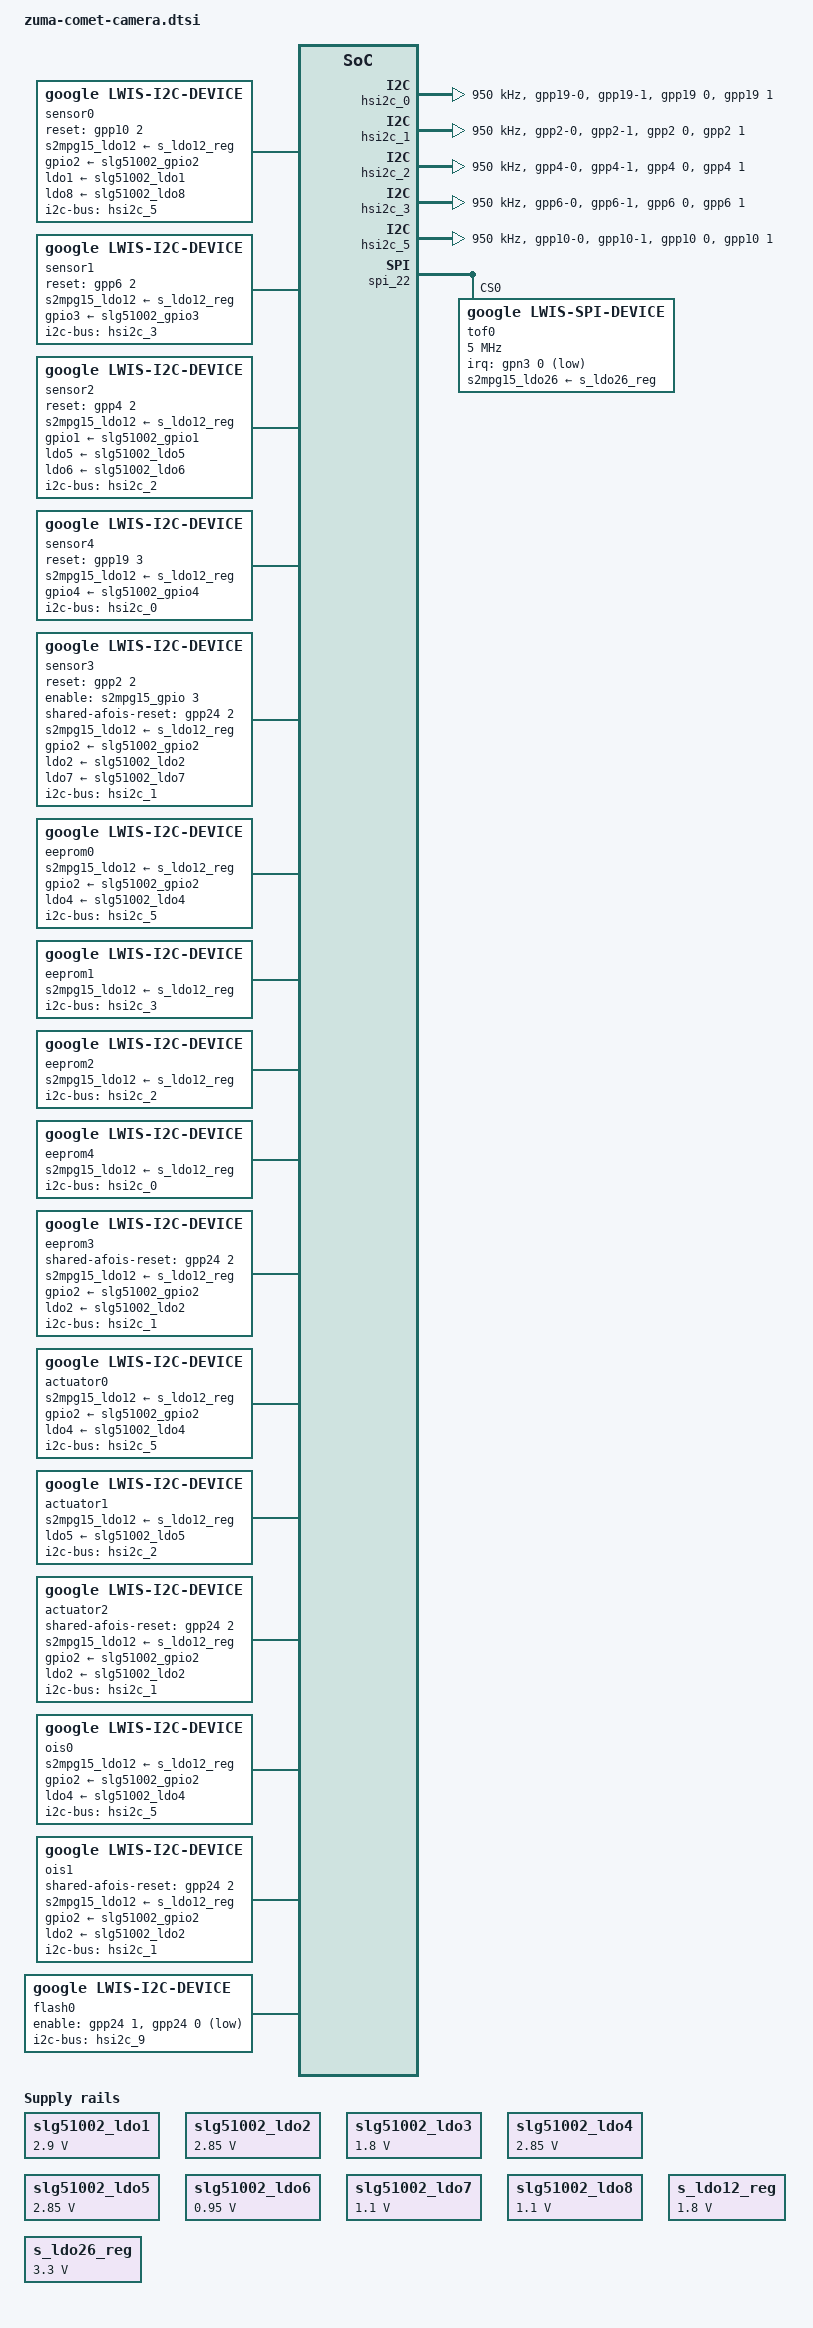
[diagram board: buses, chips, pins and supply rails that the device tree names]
// SPDX-License-Identifier: GPL-2.0-only
/*
 * zuma camera lwis device tree for comet
 *
 * Copyright 2023 Google LLC.
 *
 */

#include <dt-bindings/clock/zuma.h>
#include <dt-bindings/gpio/gpio.h>
#include <dt-bindings/lwis/platform/zuma/tof.h>
#include <dt-bindings/pinctrl/samsung.h>

&slg51002_ldo1 {
	regulator-min-microvolt = <2900000>;
	regulator-max-microvolt = <2900000>;
};

&slg51002_ldo2 {
	regulator-min-microvolt = <2850000>;
	regulator-max-microvolt = <2850000>;
};

&slg51002_ldo3 {
	regulator-min-microvolt = <1800000>;
	regulator-max-microvolt = <1800000>;
};

&slg51002_ldo4 {
	regulator-min-microvolt = <2850000>;
	regulator-max-microvolt = <2850000>;
};

&slg51002_ldo5 {
	regulator-min-microvolt = <2850000>;
	regulator-max-microvolt = <2850000>;
};

&slg51002_ldo6 {
	regulator-min-microvolt = <950000>;
	regulator-max-microvolt = <950000>;
};

&slg51002_ldo7 {
	regulator-min-microvolt = <1100000>;
	regulator-max-microvolt = <1100000>;
};

&slg51002_ldo8 {
	regulator-min-microvolt = <1100000>;
	regulator-max-microvolt = <1100000>;
};

&s_ldo12_reg {
	regulator-min-microvolt = <1800000>;
	regulator-max-microvolt = <1800000>;
};

&s_ldo26_reg {
	regulator-min-microvolt = <3300000>;
	regulator-max-microvolt = <3300000>;
};

&pinctrl_11 {
	hsi2c1_bus: hsi2c1-bus {
		samsung,pin-pud = <EXYNOS_PIN_PULL_UP>;
	};

	hsi2c1_bus_in: hsi2c1-bus-in {
		samsung,pins = "gpp2-0", "gpp2-1";
		samsung,pin-function = <EXYNOS_PIN_FUNC_INPUT>;
		samsung,pin-pud = <EXYNOS_PIN_PULL_NONE>;
		samsung,pin-drv = <ZUMA_PIN_DRV_X1>;
	};

	hsi2c2_bus: hsi2c2-bus {
		samsung,pin-pud = <EXYNOS_PIN_PULL_UP>;
	};

	hsi2c2_bus_in: hsi2c2-bus-in {
		samsung,pins = "gpp4-0", "gpp4-1";
		samsung,pin-function = <EXYNOS_PIN_FUNC_INPUT>;
		samsung,pin-pud = <EXYNOS_PIN_PULL_NONE>;
		samsung,pin-drv = <ZUMA_PIN_DRV_X1>;
	};

	hsi2c3_bus: hsi2c3-bus {
		samsung,pin-pud = <EXYNOS_PIN_PULL_UP>;
	};

	hsi2c3_bus_in: hsi2c3-bus-in {
		samsung,pins = "gpp6-0", "gpp6-1";
		samsung,pin-function = <EXYNOS_PIN_FUNC_INPUT>;
		samsung,pin-pud = <EXYNOS_PIN_PULL_NONE>;
		samsung,pin-drv = <ZUMA_PIN_DRV_X1>;
	};

	hsi2c5_bus: hsi2c5-bus {
		samsung,pin-pud = <EXYNOS_PIN_PULL_UP>;
	};

	hsi2c5_bus_in: hsi2c5-bus-in {
		samsung,pins = "gpp10-0", "gpp10-1";
		samsung,pin-function = <EXYNOS_PIN_FUNC_INPUT>;
		samsung,pin-pud = <EXYNOS_PIN_PULL_NONE>;
		samsung,pin-drv = <ZUMA_PIN_DRV_X1>;
	};

	sensor_mclk1_out: sensor-mclk1-out {
		samsung,pin-drv = <ZUMA_PIN_DRV_X5>;
	};
	sensor_mclk1_fn: sensor-mclk1-fn {
		samsung,pin-drv = <ZUMA_PIN_DRV_X5>;
	};
	sensor_mclk2_out: sensor-mclk2-out {
		samsung,pin-drv = <ZUMA_PIN_DRV_X3>;
	};
	sensor_mclk2_fn: sensor-mclk2-fn {
		samsung,pin-drv = <ZUMA_PIN_DRV_X3>;
	};
	sensor_mclk4_out: sensor-mclk4-out {
		samsung,pin-drv = <ZUMA_PIN_DRV_X5>;
	};
	sensor_mclk4_fn: sensor-mclk4-fn {
		samsung,pin-drv = <ZUMA_PIN_DRV_X5>;
	};
	sensor_mclk8_fn: sensor-mclk8-fn {
		samsung,pin-drv = <ZUMA_PIN_DRV_X5>;
	};
	sensor_mclk8_out: sensor-mclk8-out {
		samsung,pin-drv = <ZUMA_PIN_DRV_X5>;
	};
};

&pinctrl_12 {
	hsi2c0_bus: hsi2c0-bus {
		samsung,pin-pud = <EXYNOS_PIN_PULL_UP>;
	};

	hsi2c0_bus_in: hsi2c0-bus-in {
		samsung,pins = "gpp19-0", "gpp19-1";
		samsung,pin-function = <EXYNOS_PIN_FUNC_INPUT>;
		samsung,pin-pud = <EXYNOS_PIN_PULL_NONE>;
		samsung,pin-drv = <ZUMA_PIN_DRV_X1>;
	};
};

&hsi2c_0 {
	#address-cells = <1>;
	#size-cells = <0>;
	gpios = <&gpp19 0 GPIO_ACTIVE_HIGH &gpp19 1 GPIO_ACTIVE_HIGH>;
	status = "okay";
	clock-frequency = <950000>;
	samsung,reset-before-trans;

	pinctrl-names = "default","on_i2c","off_i2c";
	pinctrl-0 = <&hsi2c0_bus_in>;
	pinctrl-1 = <&hsi2c0_bus>;
	pinctrl-2 = <&hsi2c0_bus_in>;
};

&hsi2c_1 {
	#address-cells = <1>;
	#size-cells = <0>;
	gpios = <&gpp2 0 GPIO_ACTIVE_HIGH &gpp2 1 GPIO_ACTIVE_HIGH>;
	status = "okay";
	clock-frequency = <950000>;
	samsung,reset-before-trans;

	pinctrl-names = "default","on_i2c","off_i2c";
	pinctrl-0 = <&hsi2c1_bus_in>;
	pinctrl-1 = <&hsi2c1_bus>;
	pinctrl-2 = <&hsi2c1_bus_in>;
};

&hsi2c_2 {
	#address-cells = <1>;
	#size-cells = <0>;
	gpios = <&gpp4 0 GPIO_ACTIVE_HIGH &gpp4 1 GPIO_ACTIVE_HIGH>;
	status = "okay";
	clock-frequency = <950000>;
	samsung,reset-before-trans;

	pinctrl-names = "default","on_i2c","off_i2c";
	pinctrl-0 = <&hsi2c2_bus_in>;
	pinctrl-1 = <&hsi2c2_bus>;
	pinctrl-2 = <&hsi2c2_bus_in>;
};

&hsi2c_3 {
	#address-cells = <1>;
	#size-cells = <0>;
	gpios = <&gpp6 0 GPIO_ACTIVE_HIGH &gpp6 1 GPIO_ACTIVE_HIGH>;
	status = "okay";
	clock-frequency = <950000>;
	samsung,reset-before-trans;

	pinctrl-names = "default","on_i2c","off_i2c";
	pinctrl-0 = <&hsi2c3_bus_in>;
	pinctrl-1 = <&hsi2c3_bus>;
	pinctrl-2 = <&hsi2c3_bus_in>;
};

&hsi2c_5 {
	#address-cells = <1>;
	#size-cells = <0>;
	gpios = <&gpp10 0 GPIO_ACTIVE_HIGH &gpp10 1 GPIO_ACTIVE_HIGH>;
	status = "okay";
	clock-frequency = <950000>;
	samsung,reset-before-trans;

	pinctrl-names = "default","on_i2c","off_i2c";
	pinctrl-0 = <&hsi2c5_bus_in>;
	pinctrl-1 = <&hsi2c5_bus>;
	pinctrl-2 = <&hsi2c5_bus_in>;
};

&spi_22 {

	#address-cells = <1>;
	#size-cells = <0>;
	status = "okay";

	tof0: tof@0 {
		status = "ok";
		compatible = "google,lwis-spi-device";

		/* Device node name */
		node-name = "tof-tarasque";

		/* Registers */
		reg-addr-bitwidth = <16>;
		reg-value-bitwidth = <8>;

		/* SPI config */
		reg = <0>;
		spi-max-frequency = <5000000>;
		spi-cpol;
		spi-cpha;

		/* Power supplies */
		/* VADD 3.3V */
		s2mpg15_ldo26-supply = <&s_ldo26_reg>;

		/* MCLK Control*/
		pinctrl-names = "mclk_on", "mclk_off";
		pinctrl-0 = <>;
		pinctrl-1 = <>;

		/* XAOC_GPIO3: GPN3[0] */
		irq-gpios = <&gpn3 0 GPIO_ACTIVE_LOW>;
		irq-gpios-names = "tof-irq";
		irq-gpios-events = <LWIS_PLATFORM_EVENT_ID_TOF_DATA_POLLING>;
		/* IRQF_ONESHOT | IRQF_TRIGGER_FALLING */
		irq-gpios-types = <0x2002>;

		/* Power up sequence */
		power-up-seqs =
			"s2mpg15_ldo26";
		power-up-seq-types =
			"regulator";
		power-up-seq-delays-us =
			<1000>;

		/* Power down sequence */
		power-down-seqs =
			"s2mpg15_ldo26";
		power-down-seq-types =
			"regulator";
		power-down-seq-delays-us =
			<1000>;

		controller-data {
			samsung,spi-feedback-delay = <0>;
			samsung,spi-chip-select-mode = <0>;
			cs-clock-delay = <10>;
		};
	};
};

/ {
	fragment@lwiscamera {
		target-path = "/";
		__overlay__ {
			/* REAR CAMERA OKSOKO */
			sensor0: sensor@0 {
				compatible = "google,lwis-i2c-device";

				/* Device node name */
				node-name = "sensor-oksoko";

				/* I2C */
				i2c-bus = <&hsi2c_5>;
				i2c-addr = <0x1A>;

				/* Registers */
				reg-addr-bitwidth = <16>;
				reg-value-bitwidth = <8>;

				/* GPIOs */
				/* RCAM_RST_L GPP10[2] */
				reset-gpios = <&gpp10 2 GPIO_ACTIVE_HIGH>;

				/* Power supplies */
				s2mpg15_ldo12-supply = <&s_ldo12_reg>;
				gpio2-supply = <&slg51002_gpio2>;
				ldo1-supply = <&slg51002_ldo1>;
				ldo8-supply = <&slg51002_ldo8>;
				ldo4-supply = <&slg51002_ldo4>;
				ldo3-supply = <&slg51002_ldo3>;

				clocks =
					<&clock CIS_CLK3>,
					<&clock GATE_DFTMUX_CMU_CIS_CLK3>;
				clock-names =
					"CIS_CLK3",
					"GATE_DFTMUX_CMU_CIS_CLK3";
				clock-rates =
					<26000000>,
					<0>;

				/* MCLK Control */
				pinctrl-names = "mclk_on", "mclk_off";
				pinctrl-0 = <&sensor_mclk4_fn>;
				pinctrl-1 = <&sensor_mclk4_out>;

				/* Power up sequence */
				power-up-seqs =
					"s2mpg15_ldo12",
					"gpio2",
					"ldo4",
					"ldo1",
					"ldo3",
					"ldo8",
					"reset",
					"mclk_on";
				power-up-seq-types =
					"regulator",
					"regulator",
					"regulator",
					"regulator",
					"regulator",
					"regulator",
					"gpio",
					"pinctrl";
				power-up-seq-delays-us =
					<1000
					 1000
					 1000
					 1000
					 1000
					 1000
					 1000
					 9000>;

				/* Power down sequence */
				power-down-seqs =
					"mclk_off",
					"reset",
					"ldo8",
					"ldo3",
					"ldo1",
					"ldo4",
					"gpio2",
					"s2mpg15_ldo12";
				power-down-seq-types =
					"pinctrl",
					"gpio",
					"regulator",
					"regulator",
					"regulator",
					"regulator",
					"regulator",
					"regulator";
				power-down-seq-delays-us =
					<1000
					 1000
					 1000
					 1000
					 1000
					 1000
					 1000
					 0>;

				/* Thread priority */
				transaction-thread-priority = <99>;

				i2c-lock-group-id = <0>;
			};

			/* INNER-FRONT CAMERA SVAROG */
			sensor1: sensor@1 {
				compatible = "google,lwis-i2c-device";

				/* Device node name */
				node-name = "sensor-svarog";

				/* I2C */
				i2c-bus = <&hsi2c_3>;
				i2c-addr = <0x10>;

				/* Registers */
				reg-addr-bitwidth = <16>;
				reg-value-bitwidth = <16>;

				/* GPIOs */
				reset-gpios = <&gpp6 2 GPIO_ACTIVE_HIGH>;

				/* Power supplies */
				s2mpg15_ldo12-supply = <&s_ldo12_reg>;
				gpio3-supply = <&slg51002_gpio3>;

				clocks =
					<&clock CIS_CLK1>,
					<&clock GATE_DFTMUX_CMU_CIS_CLK1>;
				clock-names =
					"CIS_CLK1",
					"GATE_DFTMUX_CMU_CIS_CLK1";
				clock-rates =
					<24000000>,
					<0>;

				/* MCLK Control */
				pinctrl-names = "mclk_on", "mclk_off";
				pinctrl-0 = <&sensor_mclk2_fn>;
				pinctrl-1 = <&sensor_mclk2_out>;

				/* Power up sequence */
				power-up-seqs =
					"s2mpg15_ldo12",
					"gpio3",
					"reset",
					"mclk_on";
				power-up-seq-types =
					"regulator",
					"regulator",
					"gpio",
					"pinctrl";
				power-up-seq-delays-us =
					<1000
					 1000
					 1000
					 8000>;

				/* Power down sequence */
				power-down-seqs =
					"mclk_off",
					"reset",
					"gpio3",
					"s2mpg15_ldo12";
				power-down-seq-types =
					"pinctrl",
					"gpio",
					"regulator",
					"regulator";
				power-down-seq-delays-us =
					<1000
					 1000
					 1000
					 0>;

				/* Thread priority */
				transaction-thread-priority = <99>;

				i2c-lock-group-id = <1>;
			};

			/* REAR ULTRA WIDE CAMERA IMENTET */
			sensor2: sensor@2 {
				compatible = "google,lwis-i2c-device";

				/* Device node name */
				node-name = "sensor-imentet";

				/* I2C */
				i2c-bus = <&hsi2c_2>;
				i2c-addr = <0x2D>;

				/* Registers */
				reg-addr-bitwidth = <16>;
				reg-value-bitwidth = <16>;

				/* GPIOs */
				reset-gpios = <&gpp4 2 GPIO_ACTIVE_HIGH>;

				/* Power supplies */
				s2mpg15_ldo12-supply = <&s_ldo12_reg>;
				gpio1-supply = <&slg51002_gpio1>;
				ldo5-supply = <&slg51002_ldo5>;
				ldo6-supply = <&slg51002_ldo6>;

				clocks =
					<&clock CIS_CLK0>,
					<&clock GATE_DFTMUX_CMU_CIS_CLK0>;
				clock-names =
					"CIS_CLK0",
					"GATE_DFTMUX_CMU_CIS_CLK0";
				clock-rates =
					<24000000>,
					<0>;

				/* MCLK Control */
				pinctrl-names = "mclk_on", "mclk_off";
				pinctrl-0 = <&sensor_mclk1_fn>;
				pinctrl-1 = <&sensor_mclk1_out>;

				/* Power up sequence */
				power-up-seqs =
					"ldo5",
					"s2mpg15_ldo12",
					"gpio1",
					"ldo6",
					"reset",
					"mclk_on";
				power-up-seq-types =
					"regulator",
					"regulator",
					"regulator",
					"regulator",
					"gpio",
					"pinctrl";
				power-up-seq-delays-us =
					<0
					 1000
					 1000
					 1500
					 1000
					 5000>;

				/* Power down sequence */
				power-down-seqs =
					"mclk_off",
					"reset",
					"ldo6",
					"gpio1",
					"s2mpg15_ldo12",
					"ldo5";
				power-down-seq-types =
					"pinctrl",
					"gpio",
					"regulator",
					"regulator",
					"regulator",
					"regulator";
				power-down-seq-delays-us =
					<5000
					 1000
					 1000
					 1000
					 0
					 1000>;

				/* Thread priority */
				transaction-thread-priority = <99>;

				i2c-lock-group-id = <2>;
			};

			/* OUTER-FRONT CAMERA SVAROG */
			sensor4: sensor@4 {
				compatible = "google,lwis-i2c-device";

				/* Device node name */
				node-name = "sensor-svarog-outer";

				/* I2C */
				i2c-bus = <&hsi2c_0>;
				i2c-addr = <0x10>;

				/* Registers */
				reg-addr-bitwidth = <16>;
				reg-value-bitwidth = <16>;

				/* GPIOs */
				reset-gpios = <&gpp19 3 GPIO_ACTIVE_HIGH>;

				/* Power supplies */
				s2mpg15_ldo12-supply = <&s_ldo12_reg>;
				gpio4-supply = <&slg51002_gpio4>;

				clocks =
					<&clock CIS_CLK4>,
					<&clock GATE_DFTMUX_CMU_CIS_CLK4>;
				clock-names =
					"CIS_CLK4",
					"GATE_DFTMUX_CMU_CIS_CLK4";
				clock-rates =
					<24000000>,
					<0>;

				/* MCLK Control */
				pinctrl-names = "mclk_on", "mclk_off";
				pinctrl-0 = <&sensor_mclk8_fn>;
				pinctrl-1 = <&sensor_mclk8_out>;

				/* Power up sequence */
				power-up-seqs =
					"s2mpg15_ldo12",
					"gpio4",
					"reset",
					"mclk_on";
				power-up-seq-types =
					"regulator",
					"regulator",
					"gpio",
					"pinctrl";
				power-up-seq-delays-us =
					<1000
					 1000
					 1000
					 8000>;

				/* Power down sequence */
				power-down-seqs =
					"mclk_off",
					"reset",
					"gpio4",
					"s2mpg15_ldo12";
				power-down-seq-types =
					"pinctrl",
					"gpio",
					"regulator",
					"regulator";
				power-down-seq-delays-us =
					<1000
					 1000
					 1000
					 0>;

				/* Thread priority */
				transaction-thread-priority = <99>;

				i2c-lock-group-id = <4>;
			};

			/* REAR TELE CAMERA DOKKAEBI */
			sensor3: sensor@3 {
				compatible = "google,lwis-i2c-device";

				/* Device node name */
				node-name = "sensor-dokkaebi-tele";

				/* I2C */
				i2c-bus = <&hsi2c_1>;
				i2c-addr = <0x10>;

				/* Registers */
				reg-addr-bitwidth = <16>;
				reg-value-bitwidth = <16>;

				/* GPIOs */
				reset-gpios = <&gpp2 2 GPIO_ACTIVE_HIGH>;
				enable-gpios = <&s2mpg15_gpio 3 GPIO_ACTIVE_HIGH>;
				shared-afois-reset-gpios = <&gpp24 2 GPIO_ACTIVE_HIGH>;

				/* Power supplies */
				s2mpg15_ldo12-supply = <&s_ldo12_reg>;
				gpio2-supply = <&slg51002_gpio2>;
				ldo2-supply = <&slg51002_ldo2>;
				ldo7-supply = <&slg51002_ldo7>;

				clocks =
					<&clock CIS_CLK2>,
					<&clock GATE_DFTMUX_CMU_CIS_CLK2>;
				clock-names =
					"CIS_CLK2",
					"GATE_DFTMUX_CMU_CIS_CLK2";
				clock-rates =
					<24000000>,
					<0>;

				/* MCLK Control */
				pinctrl-names = "mclk_on", "mclk_off";
				pinctrl-0 = <&sensor_mclk3_fn>;
				pinctrl-1 = <&sensor_mclk3_out>;

				/* Power up sequence */
				power-up-seqs =
					"s2mpg15_ldo12",
					"gpio2",
					"ldo2",
					"shared-afois-reset",
					"enable",
					"ldo7",
					"reset",
					"mclk_on";
				power-up-seq-types =
					"regulator",
					"regulator",
					"regulator",
					"gpio",
					"gpio",
					"regulator",
					"gpio",
					"pinctrl";
				power-up-seq-delays-us =
					<1000
					 1000
					 2500
					 1000
					 1000
					 1000
					 1000
					 10000>;

				/* Power down sequence */
				power-down-seqs =
					"mclk_off",
					"reset",
					"ldo7",
					"enable",
					"shared-afois-reset",
					"ldo2",
					"gpio2",
					"s2mpg15_ldo12";
				power-down-seq-types =
					"pinctrl",
					"gpio",
					"regulator",
					"gpio",
					"gpio",
					"regulator",
					"regulator",
					"regulator";
				power-down-seq-delays-us =
					<1000
					 1000
					 1000
					 1000
					 2500
					 1000
					 1000
					 0>;

				/* Thread priority */
				transaction-thread-priority = <99>;

				i2c-lock-group-id = <3>;
			};

			/* EEPROM NESSIE for OKSOKO*/
			eeprom0: eeprom@0 {
				compatible = "google,lwis-i2c-device";
				/* Device node name */
				node-name = "eeprom-nessie";
				/* I2C */
				i2c-bus = <&hsi2c_5>;
				i2c-addr = <0x24>;
				/* Registers */
				reg-addr-bitwidth = <16>;
				reg-value-bitwidth = <32>;
				/* Power supplies */
				s2mpg15_ldo12-supply = <&s_ldo12_reg>;
				gpio2-supply = <&slg51002_gpio2>;
				ldo4-supply = <&slg51002_ldo4>;
				/* Power up sequence */
				power-up-seqs =
					"s2mpg15_ldo12",
					"gpio2",
					"ldo4";
				power-up-seq-types =
					"regulator",
					"regulator",
					"regulator";
				power-up-seq-delays-us =
					<1000
					 1000
					 1000>;
				/* Power down sequence */
				power-down-seqs =
					"ldo4",
					"gpio2",
					"s2mpg15_ldo12";
				power-down-seq-types =
					"regulator",
					"regulator",
					"regulator";
				power-down-seq-delays-us =
					<1000
					 1000
					 0>;

				/* Thread priority */
				transaction-thread-priority = <99>;

				i2c-lock-group-id = <0>;
			};

			/* EEPROM SMAUG for SVAROG */
			eeprom1: eeprom@1 {
				compatible = "google,lwis-i2c-device";

				/* Device node name */
				node-name = "eeprom-smaug-svarog";

				/* I2C */
				i2c-bus = <&hsi2c_3>;
				i2c-addr = <0x50>;

				/* Registers */
				reg-addr-bitwidth = <16>;
				reg-value-bitwidth = <8>;

				/* Power supplies */
				s2mpg15_ldo12-supply = <&s_ldo12_reg>;

				/* Power up sequence */
				power-up-seqs =
					"s2mpg15_ldo12";
				power-up-seq-types =
					"regulator";
				power-up-seq-delays-us =
					<1000>;

				/* Power down sequence */
				power-down-seqs =
					"s2mpg15_ldo12";
				power-down-seq-types =
					"regulator";
				power-down-seq-delays-us =
					<0>;

				/* Thread priority */
				transaction-thread-priority = <99>;

				i2c-lock-group-id = <1>;
			};

			/* EEPROM SMAUG for IMENTET UW */
			eeprom2: eeprom@2 {
				compatible = "google,lwis-i2c-device";

				/* Device node name */
				node-name = "eeprom-smaug-imentet";

				/* I2C */
				i2c-bus = <&hsi2c_2>;
				i2c-addr = <0x50>;

				/* Registers */
				reg-addr-bitwidth = <16>;
				reg-value-bitwidth = <8>;

				/* Power supplies */
				s2mpg15_ldo12-supply = <&s_ldo12_reg>;

				/* Power up sequence */
				power-up-seqs =
					"s2mpg15_ldo12";
				power-up-seq-types =
					"regulator";
				power-up-seq-delays-us =
					<1000>;

				/* Power down sequence */
				power-down-seqs =
					"s2mpg15_ldo12";
				power-down-seq-types =
					"regulator";
				power-down-seq-delays-us =
					<0>;

				/* Thread priority */
				transaction-thread-priority = <99>;

				i2c-lock-group-id = <2>;
			};

			/* EEPROM SMAUG for SVAROG OUTER */
			eeprom4: eeprom@4 {
				compatible = "google,lwis-i2c-device";

				/* Device node name */
				node-name = "eeprom-smaug-svarog-outer";

				/* I2C */
				i2c-bus = <&hsi2c_0>;
				i2c-addr = <0x50>;

				/* Registers */
				reg-addr-bitwidth = <16>;
				reg-value-bitwidth = <8>;

				/* Power supplies */
				s2mpg15_ldo12-supply = <&s_ldo12_reg>;

				/* Power up sequence */
				power-up-seqs =
					"s2mpg15_ldo12";
				power-up-seq-types =
					"regulator";
				power-up-seq-delays-us =
					<1000>;

				/* Power down sequence */
				power-down-seqs =
					"s2mpg15_ldo12";
				power-down-seq-types =
					"regulator";
				power-down-seq-delays-us =
					<0>;

				/* Thread priority */
				transaction-thread-priority = <99>;

				i2c-lock-group-id = <4>;
			};

			/* EEPROM JOTNAR for DOKKAEBI */
			eeprom3: eeprom@3 {
				compatible = "google,lwis-i2c-device";

				/* Device node name */
				node-name = "eeprom-jotnar";

				/* I2C */
				i2c-bus = <&hsi2c_1>;
				i2c-addr = <0x34>;

				/* Registers */
				reg-addr-bitwidth = <16>;
				reg-value-bitwidth = <8>;

				/* GPIOs */
				shared-afois-reset-gpios = <&gpp24 2 GPIO_ACTIVE_HIGH>;

				/* Power supplies */
				s2mpg15_ldo12-supply = <&s_ldo12_reg>;
				gpio2-supply = <&slg51002_gpio2>;
				ldo2-supply = <&slg51002_ldo2>;

				/* Power up sequence */
				power-up-seqs =
					"s2mpg15_ldo12",
					"gpio2",
					"ldo2",
					"shared-afois-reset";
				power-up-seq-types =
					"regulator",
					"regulator",
					"regulator",
					"gpio";
				power-up-seq-delays-us =
					<1000
					 1000
					 2500
					 1000>;

				/* Power down sequence */
				power-down-seqs =
					"shared-afois-reset",
					"ldo2",
					"gpio2",
					"s2mpg15_ldo12";
				power-down-seq-types =
					"gpio",
					"regulator",
					"regulator",
					"regulator";
				power-down-seq-delays-us =
					<2500
					 1000
					 1000
					 0>;

				/* Thread priority */
				transaction-thread-priority = <99>;

				i2c-lock-group-id = <3>;
			};

			/* Actuator NESSIE for OKSOKO */
			actuator0: actuator@0 {
				compatible = "google,lwis-i2c-device";

				/* Device node name */
				node-name = "act-nessie";

				/* I2C */
				i2c-bus = <&hsi2c_5>;
				i2c-addr = <0x24>;

				/* Registers */
				reg-addr-bitwidth = <16>;
				reg-value-bitwidth = <32>;

				/* Power supplies */
				s2mpg15_ldo12-supply = <&s_ldo12_reg>;
				gpio2-supply = <&slg51002_gpio2>;
				ldo4-supply = <&slg51002_ldo4>;

				/* Power up sequence */
				power-up-seqs =
					"s2mpg15_ldo12",
					"gpio2",
					"ldo4";
				power-up-seq-types =
					"regulator",
					"regulator",
					"regulator";
				power-up-seq-delays-us =
					<1000
					 1000
					 1000>;

				/* Power down sequence */
				power-down-seqs =
					"ldo4",
					"gpio2",
					"s2mpg15_ldo12";
				power-down-seq-types =
					"regulator",
					"regulator",
					"regulator";
				power-down-seq-delays-us =
					<1000
					 1000
					 0>;

				/* Thread priority */
				transaction-thread-priority = <99>;

				i2c-lock-group-id = <0>;
			};

			/* Actuator CORNERFOLK for IMENTET */
			actuator1: actuator@1 {
				compatible = "google,lwis-i2c-device";

				/* Device node name */
				node-name = "act-cornerfolk";

				/* I2C */
				i2c-bus = <&hsi2c_2>;
				i2c-addr = <0x0C>;

				/* Registers */
				reg-addr-bitwidth = <8>;
				reg-value-bitwidth = <8>;

				/* Power supplies */
				s2mpg15_ldo12-supply = <&s_ldo12_reg>;
				ldo5-supply = <&slg51002_ldo5>;

				/* Power up sequence */
				power-up-seqs =
					"ldo5",
					"s2mpg15_ldo12";
				power-up-seq-types =
					"regulator",
					"regulator";
				power-up-seq-delays-us =
					<0
					 1000>;

				/* Power down sequence */
				power-down-seqs =
					"s2mpg15_ldo12",
					"ldo5";
				power-down-seq-types =
					"regulator",
					"regulator";
				power-down-seq-delays-us =
					<0
					 1000>;

				/* Thread priority */
				transaction-thread-priority = <99>;

				i2c-lock-group-id = <2>;
			};

			/* Actuator JOTNAR for DOKKAEBI */
			actuator2: actuator@2 {
				compatible = "google,lwis-i2c-device";

				/* Device node name */
				node-name = "act-jotnar";

				/* I2C */
				i2c-bus = <&hsi2c_1>;
				i2c-addr = <0x34>;

				/* Registers */
				reg-addr-bitwidth = <16>;
				reg-value-bitwidth = <8>;

				/* GPIOs */
				shared-afois-reset-gpios = <&gpp24 2 GPIO_ACTIVE_HIGH>;

				/* Power supplies */
				s2mpg15_ldo12-supply = <&s_ldo12_reg>;
				gpio2-supply = <&slg51002_gpio2>;
				ldo2-supply = <&slg51002_ldo2>;

				/* Power up sequence */
				power-up-seqs =
					"s2mpg15_ldo12",
					"gpio2",
					"ldo2",
					"shared-afois-reset";
				power-up-seq-types =
					"regulator",
					"regulator",
					"regulator",
					"gpio";
				power-up-seq-delays-us =
					<1000
					 1000
					 2500
					 1000>;

				/* Power down sequence */
				power-down-seqs =
					"shared-afois-reset",
					"ldo2",
					"gpio2",
					"s2mpg15_ldo12";
				power-down-seq-types =
					"gpio",
					"regulator",
					"regulator",
					"regulator";
				power-down-seq-delays-us =
					<2500
					 1000
					 1000
					 0>;

				/* Thread priority */
				transaction-thread-priority = <99>;

				i2c-lock-group-id = <3>;
			};

			/* OIS NESSIE for OKSOKO*/
			ois0: ois@0 {
				compatible = "google,lwis-i2c-device";

				/* Device node name */
				node-name = "ois-nessie";

				/* I2C */
				i2c-bus = <&hsi2c_5>;
				i2c-addr = <0x24>;

				/* Registers */
				reg-addr-bitwidth = <16>;
				reg-value-bitwidth = <32>;

				/* Power supplies */
				s2mpg15_ldo12-supply = <&s_ldo12_reg>;
				gpio2-supply = <&slg51002_gpio2>;
				ldo4-supply = <&slg51002_ldo4>;

				/* Power up sequence */
				power-up-seqs =
					"s2mpg15_ldo12",
					"gpio2",
					"ldo4";
				power-up-seq-types =
					"regulator",
					"regulator",
					"regulator";
				power-up-seq-delays-us =
					<1000
					 1000
					 1000>;

				/* Power down sequence */
				power-down-seqs =
					"ldo4",
					"gpio2",
					"s2mpg15_ldo12";
				power-down-seq-types =
					"regulator",
					"regulator",
					"regulator";
				power-down-seq-delays-us =
					<1000
					 1000
					 0>;

				/* Thread priority */
				transaction-thread-priority = <99>;

				i2c-lock-group-id = <0>;
			};

			/* Ois JOTNAR for DOKKAEBI */
			ois1: ois@1 {
				compatible = "google,lwis-i2c-device";

				/* Device node name */
				node-name = "ois-jotnar";

				/* I2C */
				i2c-bus = <&hsi2c_1>;
				i2c-addr = <0x34>;

				/* Registers */
				reg-addr-bitwidth = <16>;
				reg-value-bitwidth = <8>;

				/* GPIOs */
				shared-afois-reset-gpios = <&gpp24 2 GPIO_ACTIVE_HIGH>;

				/* Power supplies */
				s2mpg15_ldo12-supply = <&s_ldo12_reg>;
				gpio2-supply = <&slg51002_gpio2>;
				ldo2-supply = <&slg51002_ldo2>;

				/* Power up sequence */
				power-up-seqs =
					"s2mpg15_ldo12",
					"gpio2",
					"ldo2",
					"shared-afois-reset";
				power-up-seq-types =
					"regulator",
					"regulator",
					"regulator",
					"gpio";
				power-up-seq-delays-us =
					<1000
					 1000
					 2500
					 1000>;

				/* Power down sequence */
				power-down-seqs =
					"shared-afois-reset",
					"ldo2",
					"gpio2",
					"s2mpg15_ldo12";
				power-down-seq-types =
					"gpio",
					"regulator",
					"regulator",
					"regulator";
				power-down-seq-delays-us =
					<2500
					 1000
					 1000
					 0>;

				/* Thread priority */
				transaction-thread-priority = <99>;

				i2c-lock-group-id = <3>;
			};

			flash0: flash@0 {
				compatible = "google,lwis-i2c-device";

				/* Device node name */
				node-name = "flash-lm3644";

				/* I2C */
				i2c-bus = <&hsi2c_9>;
				i2c-addr = <0x63>;

				/* Registers */
				reg-addr-bitwidth = <8>;
				reg-value-bitwidth = <8>;

				/* Power Management hibernation (deep sleep) */
				/* 1 : enable, 0 : disable */
				pm-hibernation = <0>;

				/* GPIOs */
				/* HW_ENABLE GPP24[1] */
				/* FLASH_STROBE GPP24[0] */
				enable-gpios =
					<&gpp24 1 GPIO_ACTIVE_HIGH
					 &gpp24 0 GPIO_ACTIVE_LOW>;
			};
		};
	};
};
